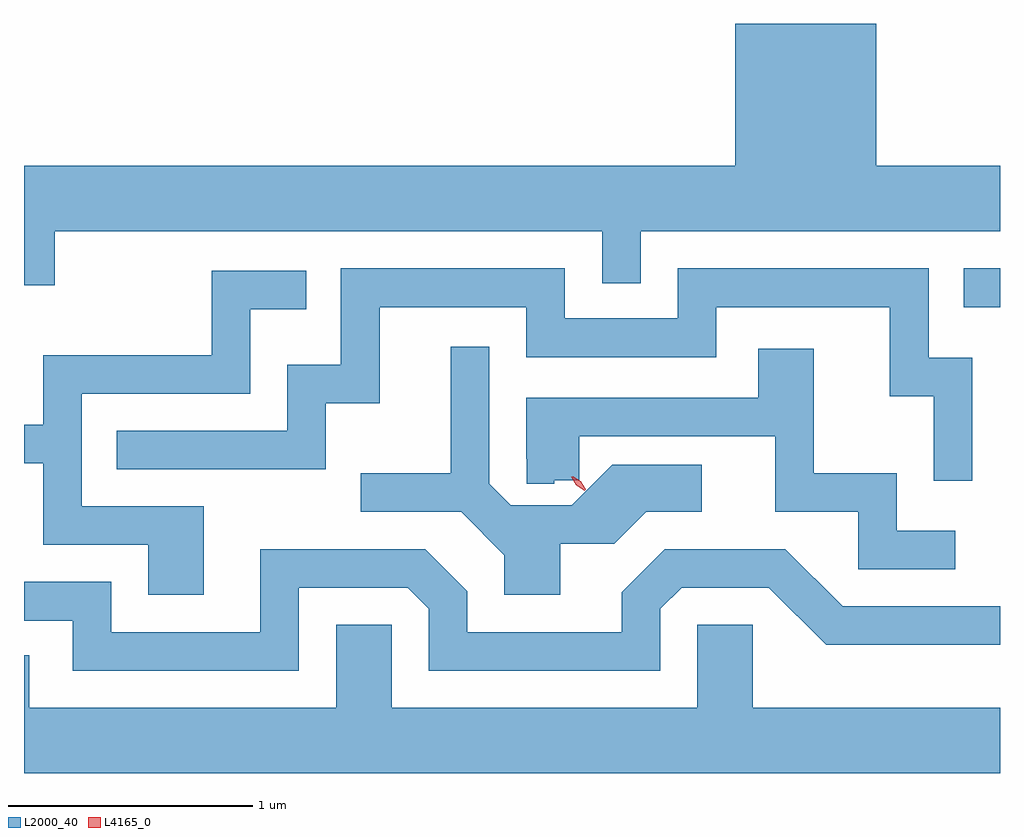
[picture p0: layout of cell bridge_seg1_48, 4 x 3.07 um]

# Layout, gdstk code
import gdstk
lib = gdstk.Library(unit=1e-6, precision=1e-09)
def R(c, l, rs):  # rectangles x0, y0, x1, y1
    for r in rs: c.add(gdstk.rectangle(r[:2], r[2:], *l))
def P(c, l, *ps):  # polygons
    for p in ps: c.add(gdstk.Polygon(p, *l))
L2000_40 = (2000, 40)
L4165_0 = (4165, 0)

bridge_seg1_48 = lib.new_cell('bridge_seg1_48')
R(bridge_seg1_48, L2000_40, [(1813.133,903.706,1813.282,903.864)])
P(bridge_seg1_48, L2000_40, [(1809.409,904.016),(1811.651,904.016),(1811.651,903.803),(1811.809,903.803),(1811.809,904.016),(1813.282,904.016),(1813.282,904.284),(1812.774,904.284),(1812.774,904.866),(1812.196,904.866),(1812.196,904.284),(1809.282,904.284),(1809.282,903.796),(1809.409,903.796)],
  [(1813.169,903.499),(1812.989,903.499),(1812.989,903.864),(1811.961,903.864),(1811.961,903.659),(1811.499,903.659),(1811.499,903.864),(1810.581,903.864),(1810.581,903.469),(1810.361,903.469),(1810.361,903.199),(1809.663,903.199),(1809.663,903.041),(1810.519,903.041),(1810.519,903.311),(1810.739,903.311),(1810.739,903.706),(1811.341,903.706),(1811.341,903.501),(1812.119,903.501),(1812.119,903.706),(1812.831,903.706),(1812.831,903.341),(1813.011,903.341),(1813.011,902.993),(1813.169,902.993)],
  [(1810.019,902.889),(1809.519,902.889),(1809.519,903.351),(1810.209,903.351),(1810.209,903.696),(1810.438,903.696),(1810.438,903.854),(1810.051,903.854),(1810.051,903.509),(1809.361,903.509),(1809.361,903.224),(1809.282,903.224),(1809.282,903.066),(1809.361,903.066),(1809.361,902.731),(1809.791,902.731),(1809.791,902.526),(1810.019,902.526)],
  [(1811.479,902.736),(1811.702,902.736),(1811.832,902.866),(1812.059,902.866),(1812.059,903.06),(1811.692,903.06),(1811.526,902.894),(1811.277,902.894),(1811.189,902.982),(1811.189,903.543),(1811.031,903.543),(1811.031,903.024),(1810.663,903.024),(1810.663,902.866),(1811.074,902.866),(1811.251,902.689),(1811.251,902.526),(1811.479,902.526)],
  [(1813.098,902.789),(1812.859,902.789),(1812.859,903.024),(1812.519,903.024),(1812.519,903.534),(1812.291,903.534),(1812.291,903.334),(1811.341,903.334),(1811.341,903.085),(1811.342,903.085),(1811.342,902.982),(1811.455,902.982),(1811.455,902.995),(1811.558,902.995),(1811.558,903.176),(1812.361,903.176),(1812.361,902.866),(1812.701,902.866),(1812.701,902.631),(1813.098,902.631)],
  [(1810.409,902.556),(1810.854,902.556),(1810.941,902.469),(1810.941,902.216),(1811.889,902.216),(1811.889,902.469),(1811.977,902.556),(1812.334,902.556),(1812.569,902.321),(1813.282,902.321),(1813.282,902.479),(1812.637,902.479),(1812.402,902.714),(1811.909,902.714),(1811.731,902.537),(1811.731,902.374),(1811.099,902.374),(1811.099,902.542),(1810.927,902.714),(1810.251,902.714),(1810.251,902.374),(1809.639,902.374),(1809.639,902.579),(1809.282,902.579),(1809.282,902.421),(1809.481,902.421),(1809.481,902.216),(1810.409,902.216)],
  [(1813.282,902.064),(1812.269,902.064),(1812.269,902.404),(1812.041,902.404),(1812.041,902.064),(1810.789,902.064),(1810.789,902.404),(1810.561,902.404),(1810.561,902.064),(1809.304,902.064),(1809.304,902.278),(1809.282,902.278),(1809.282,901.796),(1813.282,901.796)])
P(bridge_seg1_48, L4165_0, [(1811.583,902.958),(1811.55,902.978),(1811.53,903.011),(1811.53,903.012),(1811.531,903.012),(1811.564,902.992),(1811.584,902.959),(1811.584,902.958)],
  [(1811.58,902.953),(1811.546,902.975),(1811.525,903.01),(1811.525,903.01),(1811.526,903.01),(1811.56,902.989),(1811.581,902.954),(1811.581,902.953)])

lib.write_gds('bridge_seg1_48.gds')
